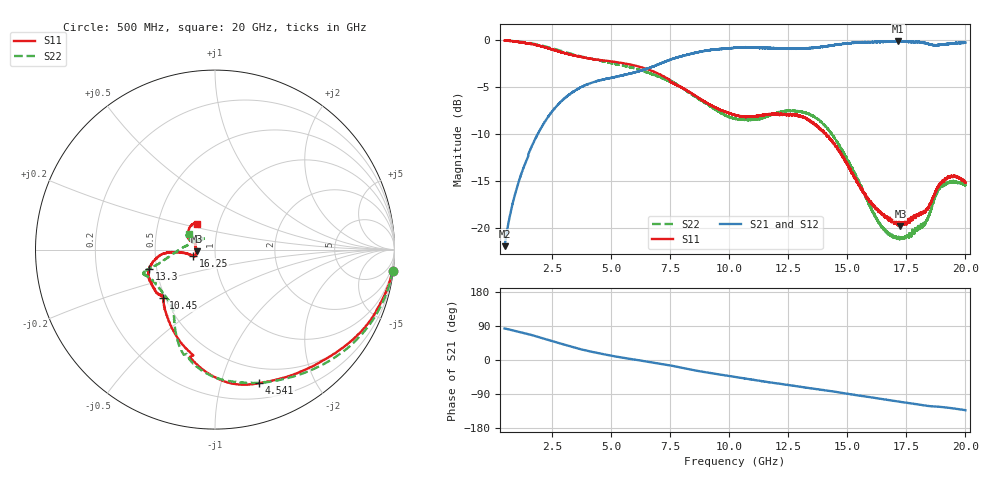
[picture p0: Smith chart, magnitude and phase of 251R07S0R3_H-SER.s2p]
!{201R07S0R3}
!Johanson Technology Inc.
!www.johansontechnology.com
!Test Board Conditions:
!Substrate Type  RO4350B
!Substrate Thickness  10 mil
!Substrate Dk  3.66
!TL Type: GCPW
!TL Trace Width  21 mil
!TL Gap  20 mil
!Electrode orientation  Horizontal
!DUT TOPOLOGY	SERIES
!Mounting Pad LxW  16x21 mil
!Agilent Technologies,N5230A,MY45001966,A.07.50.67
!Agilent N5230A: A.07.50.67
! Created Mon Mar  9 16:13:47 2020
# mhz S ma R 50
! 2 Port Network Data from SP1.SP block
! freq  magS11  angS11  magS21  angS21  magS12  angS12  magS22  angS22
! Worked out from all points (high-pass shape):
!   19501 points, 500 MHz to 20 GHz, reference 50 ohm
!   highest |S21| = -0.11 dB at 17.16 GHz (marker M1); lowest = -21.9 dB at 500 MHz (marker M2)
!   |S21| within 3 dB of the highest: 6.430165 GHz to 6.439831 GHz (9.667 MHz wide, 0.15 % of centre); 6.44 GHz to end of sweep (the widest 2 of 5)
!   lowest |S11| = -19.8 dB at 17.25 GHz (marker M3), VSWR 1.23, Z = 40.8 - j0.751 ohm
!   |S11| at or under -10 dB: 14.09854 GHz to 14.10445 GHz (5.912 MHz wide, 0.0419 % of centre); 14.10532 GHz to 14.10662 GHz (1.308 MHz wide, 0.00927 % of centre); 14.11 GHz to end of sweep
!   |S22| runs from -21.2 to 0.0 dB; largest |S21 - S12| = 0.019
!   S11 on the Smith chart (normalised r, x): 500 MHz: 1, -17; 4.541 GHz: 0.34, -1.32; 10.45 GHz: 0.49, -0.31; 13.3 GHz: 0.45, -0.11; 16.25 GHz: 0.78, -0.05; 20 GHz: 0.79, +0.23
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500  0.9959 -6.7  0.08017 83.2  0.08046 83.4  0.9967 -6.9
1034  0.9812 -14.0  0.1665 75.5  0.1666 75.4  0.9858 -14.4
1788  0.9463 -26.1  0.2971 63.3  0.2979 63.3  0.9544 -26.9
2739  0.8752 -42.7  0.451 45.7  0.4513 45.7  0.8892 -44.2
3750  0.8139 -60.5  0.5635 28.0  0.5641 28.1  0.8187 -61.5
4541  0.7836 -71.8  0.6127 17.2  0.6128 17.1  0.7793 -72.4
5838  0.7409 -85.0  0.6665 2.7  0.6664 2.6  0.7188 -88.7
7000  0.664 -96.9  0.7424 -9.2  0.7422 -9.1  0.6402 -101.5
8382  0.5241 -114.7  0.8447 -25.3  0.8492 -25.1  0.5171 -114.7
10250  0.3996 -135.8  0.9111 -44.7  0.9111 -44.8  0.3835 -133.0
10450  0.3942 -137.0  0.9133 -46.6  0.9142 -46.8  0.3783 -136.3
11892  0.4041 -144.7  0.9072 -60.5  0.907 -60.7  0.4048 -158.5
13304  0.3813 -164.0  0.9071 -73.5  0.9029 -73.2  0.4069 -162.9
13500  0.3663 -166.7  0.9114 -75.1  0.8991 -75.0  0.3985 -163.2
14619  0.2608 -176.1  0.9478 -85.2  0.9462 -85.0  0.2808 -169.1
16254  0.1252 -164.4  0.9779 -100.9  0.9812 -101.0  0.1116 153.8
16750  0.111 -163.7  0.9825 -105.6  0.9848 -105.5  0.09353 140.2
17163  0.1053 -172.6  0.9875 -109.8  0.9846 -109.4  0.08975 137.5
17252  0.1022 -174.9  0.9838 -110.4  0.9855 -110.3  0.0883 136.8
18245  0.1222 160.0  0.9677 -119.6  0.9731 -120.3  0.1048 149.4
18933  0.1719 152.0  0.9474 -123.7  0.9444 -123.6  0.1656 156.0
20000  0.174 124.4  0.9711 -132.4  0.9707 -132.5  0.1698 150.1
